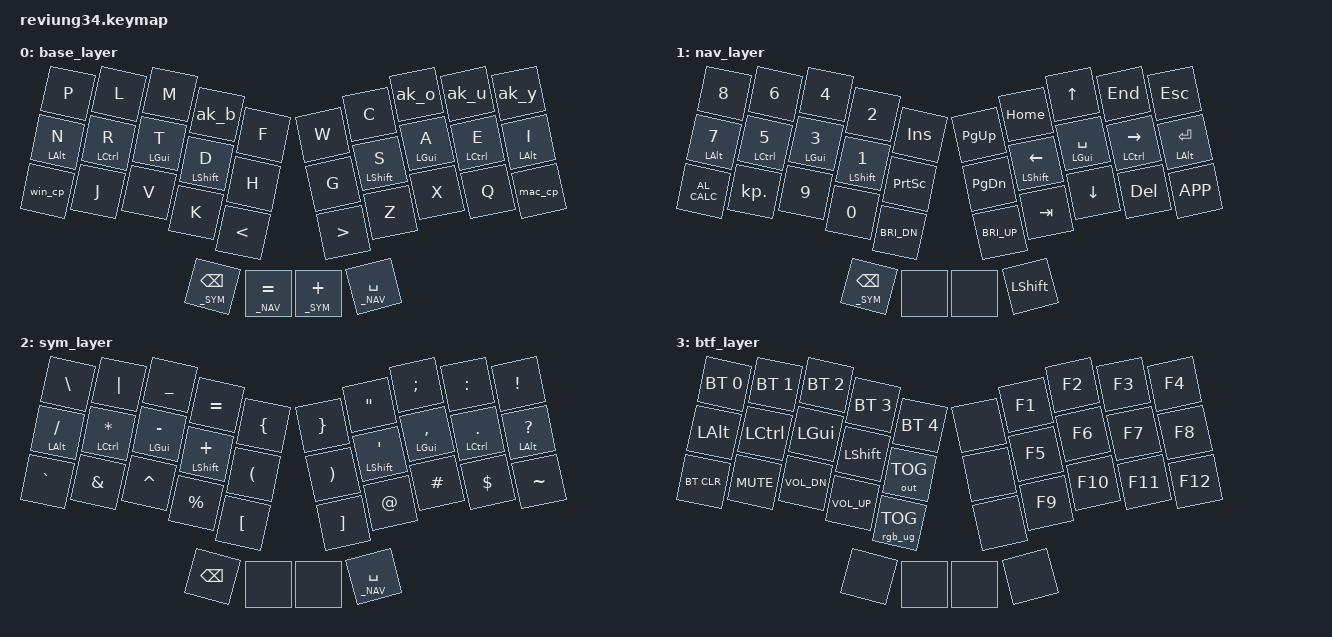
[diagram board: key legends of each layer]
/*
 * Copyright (c) 2021 The ZMK Contributors
 *
 * SPDX-License-Identifier: MIT
 */

#include <behaviors.dtsi>
#include <dt-bindings/zmk/keys.h>
#include <dt-bindings/zmk/bt.h>
#include <dt-bindings/zmk/rgb.h>
#include <dt-bindings/zmk/outputs.h>
#include <physical_layouts.dtsi>
#include "keypos_34keys.h"

#define _BASE    0
#define _NAV     1
#define _SYM     2
#define _BTF     3

#define RGB_BASE RGB_COLOR_HSB(0,100,7)
#define RGB_SYM RGB_COLOR_HSB(20,100,5)
#define RGB_NAV RGB_COLOR_HSB(10,100,8)
#define RGB_BTF RGB_COLOR_HSB(250,100,8)

/ {
    dual_1u_layout: dual_1u_layout {
        compatible = "zmk,physical-layout";
        display-name = "Dual 1u space";
        transform = <&dual_1u_transform>;
        kscan = <&kscan0>;

                keys  //             w   h    x    y     rot    rx    ry
            = <&key_physical_attrs 100 100    0   40    1200   250   140>
            , <&key_physical_attrs 100 100  100   20    1200   250   140>
            , <&key_physical_attrs 100 100  200    0    1200   250   140>
            , <&key_physical_attrs 100 100  300   20    1200   250   140>
            , <&key_physical_attrs 100 100  400   40    1200   250   140>
            , <&key_physical_attrs 100 100  530   40  (-1200)  780   140>
            , <&key_physical_attrs 100 100  630   20  (-1200)  780   140>
            , <&key_physical_attrs 100 100  730    0  (-1200)  780   140>
            , <&key_physical_attrs 100 100  830   20  (-1200)  780   140>
            , <&key_physical_attrs 100 100  930   40  (-1200)  780   140>
            , <&key_physical_attrs 100 100    0  140    1200   250   140>
            , <&key_physical_attrs 100 100  100  120    1200   250   140>
            , <&key_physical_attrs 100 100  200  100    1200   250   140>
            , <&key_physical_attrs 100 100  300  120    1200   250   140>
            , <&key_physical_attrs 100 100  400  140    1200   250   140>
            , <&key_physical_attrs 100 100  530  140  (-1200)  780   140>
            , <&key_physical_attrs 100 100  630  120  (-1200)  780   140>
            , <&key_physical_attrs 100 100  730  100  (-1200)  780   140>
            , <&key_physical_attrs 100 100  830  120  (-1200)  780   140>
            , <&key_physical_attrs 100 100  930  140  (-1200)  780   140>
            , <&key_physical_attrs 100 100    0  240    1200   250   140>
            , <&key_physical_attrs 100 100  100  220    1200   250   140>
            , <&key_physical_attrs 100 100  200  200    1200   250   140>
            , <&key_physical_attrs 100 100  300  220    1200   250   140>
            , <&key_physical_attrs 100 100  400  240    1200   250   140>
            , <&key_physical_attrs 100 100  530  240  (-1200)  780   140>
            , <&key_physical_attrs 100 100  630  220  (-1200)  780   140>
            , <&key_physical_attrs 100 100  730  200  (-1200)  780   140>
            , <&key_physical_attrs 100 100  830  220  (-1200)  780   140>
            , <&key_physical_attrs 100 100  930  240  (-1200)  780   140>
            , <&key_physical_attrs 100 100  315  400    1500   415   400>
            , <&key_physical_attrs 100 100  415  400       0     0     0>
            , <&key_physical_attrs 100 100  515  400       0     0     0>
            , <&key_physical_attrs 100 100  615  400  (-1500)  615   400>
            ;

    };

// ------------------------- MACROS --------------------------------
    macros {
        to_BASE: to_BASE {
            compatible = "zmk,behavior-macro";
            #binding-cells = <0>;
            wait-ms = <0>;
            tap-ms = <0>;
            bindings
                = <&rgb_ug RGB_BASE>
                , <&tog _NAV>
                ;
        };

        // mo_SYM: mo_SYM {
        //     compatible = "zmk,behavior-macro";
        //     #binding-cells = <0>;
        //     wait-ms = <0>;
        //     tap-ms = <0>;
        //     bindings
        //         = <&macro_tap &rgb_ug RGB_SYM>
        //         , <&macro_press &mo _SYM>
        //         , <&macro_pause_for_release>
        //         , <&macro_tap &rgb_ug RGB_BASE>
        //         , <&macro_release &mo _SYM>
        //         ;
        // };

        // to_SYM: to_SYM {
        //     compatible = "zmk,behavior-macro";
        //     #binding-cells = <0>;
        //     wait-ms = <0>;
        //     tap-ms = <0>;
        //     bindings
        //         = <&rgb_ug RGB_SYM>
        //         , <&to _SYM>
        //         ;
        // };

        to_NAV: to_NAV {
            compatible = "zmk,behavior-macro";
            #binding-cells = <0>;
            wait-ms = <0>;
            tap-ms = <0>;
            bindings
                = <&rgb_ug RGB_NAV>
                , <&tog _NAV>
                ;
        };

        // mo_NAV: mo_NAV {
        //     compatible = "zmk,behavior-macro";
        //     #binding-cells = <0>;
        //     wait-ms = <0>;
        //     tap-ms = <0>;
        //     bindings
        //         = <&macro_tap &rgb_ug RGB_NAV>
        //         , <&macro_press &mo _NAV>
        //         , <&macro_pause_for_release>
        //         , <&macro_tap &rgb_ug RGB_BASE>
        //         , <&macro_release &mo _NAV>
        //         ;
        // };

        mo_BTF: mo_BTF {
            compatible = "zmk,behavior-macro";
            #binding-cells = <0>;
            wait-ms = <0>;
            tap-ms = <0>;
            bindings
                = <&macro_tap &rgb_ug RGB_BTF>
                , <&macro_press &mo _BTF>
                , <&macro_pause_for_release>
                , <&macro_tap &rgb_ug RGB_BASE>
                , <&macro_release &mo _BTF>
                ;
        };

        to_BOOT: to_BOOT {
            compatible = "zmk,behavior-macro";
            #binding-cells = <0>;
            bindings
                = <&rgb_ug RGB_COLOR_HSB(0,100,100)>
                , <&rgb_ug RGB_ON>
                , <&bootloader>
                ;
        };

        mlc_ou: macro_lc_ou {
            compatible = "zmk,behavior-macro";
            #binding-cells = <0>;
            wait-ms = <0>;
            tap-ms = <5>;
            bindings
                = <&kp O>
                , <&kp U>
                ;
        };

        // muc_the: macro_uc_the {
        //     compatible = "zmk,behavior-macro";
        //     #binding-cells = <0>;
        //     wait-ms = <0>;
        //     tap-ms = <5>;
        //     bindings
        //         = <&kp LS(T)>
        //         , <&kp H>
        //         , <&kp E>
        //         ;
        // };

        // mlc_the: macro_lc_the {
        //     compatible = "zmk,behavior-macro";
        //     #binding-cells = <0>;
        //     wait-ms = <0>;
        //     tap-ms = <5>;
        //     bindings
        //         = <&kp T>
        //         , <&kp H>
        //         , <&kp E>
        //         ;
        // };

        // mlc_ing: macro_lc_ing {
        //     compatible = "zmk,behavior-macro";
        //     #binding-cells = <0>;
        //     wait-ms = <0>;
        //     tap-ms = <5>;
        //     bindings
        //         = <&kp I>
        //         , <&kp N>
        //         , <&kp G>
        //         ;
        // };

        mlc_qu: macro_lc_qu {
            compatible = "zmk,behavior-macro";
            #binding-cells = <0>;
            wait-ms = <0>;
            tap-ms = <5>;
            bindings
                = <&kp Q>
                , <&kp U>
                ;
        };

        // mlc_ould: macro_lc_ould {
        //     compatible = "zmk,behavior-macro";
        //     #binding-cells = <0>;
        //     wait-ms = <0>;
        //     tap-ms = <5>;
        //     bindings
        //         = <&kp O>
        //         , <&kp U>
        //         , <&kp L>
        //         , <&kp D>
        //         ;
        // };

    };

    combos {
        compatible = "zmk,combos";
// ------------------------- LAYER COMBOS --------------------------------
        combo_BOOT {
            timeout-ms = <50>;
            require-prior-idle-ms = <200>;
            key-positions = <LMC RMC>;
            bindings = <&to_BOOT>;
            layers = <_BTF>;
        };

        combo_BTF {
            timeout-ms = <50>;
            require-prior-idle-ms = <200>;
            key-positions = <LHO RHO>;
            bindings = <&mo_BTF>;
        };

        // combo_NAVR {
        //     timeout-ms = <50>;
        //     require-prior-idle-ms = <200>;
        //     key-positions = <RMI RMM RMR>;
        //     bindings = <&to_NAV>;
        //     layers = <_BASE>;
        // };

        // combo_BASER {
        //     timeout-ms = <50>;
        //     require-prior-idle-ms = <200>;
        //     key-positions = <RMI RMM RMR>;
        //     bindings = <&to_BASE>;
        //     layers = <_NAV>;
        // };

        // combo_NAVL {
        //     timeout-ms = <50>;
        //     require-prior-idle-ms = <200>;
        //     key-positions = <LMI LMM LMR>;
        //     bindings = <&to_NAV>;
        //     layers = <_BASE>;
        // };

        // combo_BASEL {
        //     timeout-ms = <50>;
        //     require-prior-idle-ms = <200>;
        //     key-positions = <LMI LMM LMR>;
        //     bindings = <&to_BASE>;
        //     layers = <_NAV>;
        // };

// ------------------------- MODS COMBOS --------------------------------
        combo_CAPS {
            timeout-ms = <50>;
            key-positions = <LTI RTI>;
            bindings = <&caps_word>;
            require-prior-idle-ms = <200>;
            layers = <_BASE>;
        };

        // combo_RALTL {
        //     timeout-ms = <40>;
        //     key-positions = <LMP LTP>;
        //     bindings = <&kp RALT>;
        //     //layers = <_BASE>;
        // };

        // combo_RALTR {
        //     timeout-ms = <40>;
        //     key-positions = <LMP RTP>;
        //     bindings = <&kp RALT>;
        //     //layers = <_BASE>;
        // };

// ------------------------- CHARACTER COMBOS --------------------------------
        // combo_OULD {
        //     timeout-ms = <50>;
        //     key-positions = <RTI RTM RTR>;
        //     bindings = <&mlc_ould>;
        //     layers = <_BASE>;
        // };

        // combo_ING {
        //     timeout-ms = <50>;
        //     require-prior-idle-ms = <120>;
        //     key-positions = <RMI RMM RMR>;
        //     bindings = <&mlc_ing>;
        //     layers = <_BASE>;
        // };

        // combo_OU {
        //     timeout-ms = <120>;
        //     //require-prior-idle-ms = <120>;
        //     key-positions = <RTM RTR>;
        //     bindings = <&mlc_ou>;
        //     layers = <_BASE>;
        // };

        // combo_THE {
        //     timeout-ms = <50>;
        //     require-prior-idle-ms = <120>;
        //     key-positions = <LMI LMM LMR>;
        //     bindings = <&mm_the>;
        //     layers = <_BASE>;
        // };

        combo_QU {
            timeout-ms = <300>;
            // require-prior-idle-ms = <120>;
            key-positions = <RBM RBI>;
            bindings = <&mlc_qu>;
            layers = <_BASE>;
        };

// ------------------------- SYMBOL COMBOS --------------------------------
        combo_LPAR {
            timeout-ms = <50>;
            require-prior-idle-ms = <200>;
            key-positions = <LHO LMI>;
            bindings = <&kp LPAR>;
            layers = <_BASE _SYM>;
        };

        combo_RPAR {
            timeout-ms = <50>;
            require-prior-idle-ms = <200>;
            key-positions = <RMI RHO>;
            bindings = <&kp RPAR>;
            layers = <_BASE _SYM>;
        };

        combo_LBRC {
            timeout-ms = <50>;
            require-prior-idle-ms = <200>;
            key-positions = <LMM LHO>;
            bindings = <&kp LBRC>;
            layers = <_BASE _SYM>;
        };

        combo_RBRC {
            timeout-ms = <50>;
            require-prior-idle-ms = <200>;
            key-positions = <RMM RHO>;
            bindings = <&kp RBRC>;
            layers = <_BASE _SYM>;
        };

        combo_LBKT {
            timeout-ms = <50>;
            require-prior-idle-ms = <200>;
            key-positions = <LMR LHO>;
            bindings = <&kp LBKT>;
            layers = <_BASE _SYM>;
        };

        combo_RBKT {
            timeout-ms = <50>;
            require-prior-idle-ms = <200>;
            key-positions = <RMR RHO>;
            bindings = <&kp RBKT>;
            layers = <_BASE _SYM>;
        };

        combo_GT {
            timeout-ms = <50>;
            require-prior-idle-ms = <200>;
            key-positions = <RMP RHO>;
            bindings = <&kp GT>;
            layers = <_BASE _SYM>;
        };

        combo_LT {
            timeout-ms = <50>;
            require-prior-idle-ms = <200>;
            key-positions = <LMP LHO>;
            bindings = <&kp LT>;
            layers = <_BASE _SYM>;
        };
    };

    behaviors {
// ------------------------- TAP-DANCES --------------------------------
        win_cp: win_cp {
            compatible = "zmk,behavior-tap-dance";
            #binding-cells = <0>;
            tapping-term-ms = <400>;
            bindings = <&kp LC(C)>, <&kp LC(V)>, <&kp LC(X)>;
        };

        mac_cp: mac_cp {
            compatible = "zmk,behavior-tap-dance";
            #binding-cells = <0>;
            tapping-term-ms = <400>;
            bindings = <&kp LG(C)>, <&kp LG(V)>, <&kp LG(X)>;
        };

// ------------------------- HOLD-TAPS --------------------------------
        /* left-hand HRMs */
        hml: hrm_left {
            compatible = "zmk,behavior-hold-tap";
            #binding-cells = <2>;
            flavor = "balanced";
            tapping-term-ms = <300>;
            quick-tap-ms = <170>;                // repeat on tap-into-hold
            require-prior-idle-ms = <250>;
            bindings = <&kp>, <&kp>;
            hold-trigger-key-positions = <KEYS_R THUMBS>;
            hold-trigger-on-release;             // delay positional check until key-release
        };

        /* right-hand HRMs */
        hmr: hrm_right {
            compatible = "zmk,behavior-hold-tap";
            #binding-cells = <2>;
            flavor = "balanced";
            tapping-term-ms = <300>;
            quick-tap-ms = <170>;                // repeat on tap-into-hold
            require-prior-idle-ms = <250>;
            bindings = <&kp>, <&kp>;
            hold-trigger-key-positions = <KEYS_L THUMBS>;
            hold-trigger-on-release;             // delay positional check until key-release
        };

        rml: akr_left {
            compatible = "zmk,behavior-hold-tap";
            #binding-cells = <2>;
            flavor = "balanced";
            tapping-term-ms = <300>;
            quick-tap-ms = <170>;                // repeat on tap-into-hold
            require-prior-idle-ms = <250>;
            bindings = <&kp>, <&ak_r>;
            hold-trigger-key-positions = <KEYS_R THUMBS>;
            hold-trigger-on-release;             // delay positional check until key-release
        };

        asl: aks_left {
            compatible = "zmk,behavior-hold-tap";
            #binding-cells = <2>;
            flavor = "balanced";
            tapping-term-ms = <300>;
            quick-tap-ms = <170>;                // repeat on tap-into-hold
            require-prior-idle-ms = <120>;
            bindings = <&kp>, <&ak_d>;
            hold-trigger-key-positions = <KEYS_R THUMBS>;
            hold-trigger-on-release;             // delay positional check until key-release
        };

        hsl: hrs_left {
            compatible = "zmk,behavior-hold-tap";
            #binding-cells = <2>;
            flavor = "balanced";
            tapping-term-ms = <300>;
            quick-tap-ms = <170>;                // repeat on tap-into-hold
            require-prior-idle-ms = <120>;
            bindings = <&kp>, <&kp>;
            hold-trigger-key-positions = <KEYS_R THUMBS>;
            hold-trigger-on-release;             // delay positional check until key-release
        };

        hsr: hrs_right {
            compatible = "zmk,behavior-hold-tap";
            #binding-cells = <2>;
            flavor = "balanced";
            tapping-term-ms = <300>;
            quick-tap-ms = <170>;                // repeat on tap-into-hold
            require-prior-idle-ms = <120>;
            bindings = <&kp>, <&kp>;
            hold-trigger-key-positions = <KEYS_L THUMBS>;
            hold-trigger-on-release;             // delay positional check until key-release
        };

        bst: backspace-tap {
            compatible = "zmk,behavior-hold-tap";
            #binding-cells = <2>;
            flavor = "balanced";
            tapping-term-ms = <300>;
            quick-tap-ms = <200>;
            //require-prior-idle-ms = <100>;
            bindings = <&mo>, <&kp>;
        };

        spt: space-tap {
            compatible = "zmk,behavior-hold-tap";
            #binding-cells = <2>;
            flavor = "balanced";
            tapping-term-ms = <300>;
            quick-tap-ms = <200>;
            //require-prior-idle-ms = <100>;
            bindings = <&mo>, <&kp>;
        };

// ----------------------- ADAPTIVE-KEYS ------------------------------- 
        ak_d: ak_d {
            compatible = "zmk,behavior-adaptive-key";
            #binding-cells = <0>;
            bindings = <&kp D>;

            akt_th { trigger-keys = <T>; max-prior-idle-ms = <250>; bindings = <&kp H>; };
            akt_bh { trigger-keys = <B>; max-prior-idle-ms = <300>; bindings = <&kp H>; };
            akt_ph { trigger-keys = <P>; max-prior-idle-ms = <300>; bindings = <&kp H>; };
            akt_ch { trigger-keys = <C>; max-prior-idle-ms = <300>; bindings = <&kp H>; };
            akt_wh { trigger-keys = <W>; max-prior-idle-ms = <300>; bindings = <&kp H>; };
            akt_sh { trigger-keys = <S>; max-prior-idle-ms = <300>; bindings = <&kp H>; };
            akt_gh { trigger-keys = <G>; max-prior-idle-ms = <300>; bindings = <&kp H>; };
        };

        ak_b: ak_b {
            compatible = "zmk,behavior-adaptive-key";
            #binding-cells = <0>;
            bindings = <&kp B>;

            akt_sc { trigger-keys = <S>; max-prior-idle-ms = <300>; bindings = <&kp C>; };
            akt_pr { trigger-keys = <P>; max-prior-idle-ms = <300>; bindings = <&kp R>; };
            akt_tv { trigger-keys = <T>; max-prior-idle-ms = <300>; bindings = <&kp V>; };
        };

        // ak_j: ak_j {
        //     compatible = "zmk,behavior-adaptive-key";
        //     #binding-cells = <0>;
        //     bindings = <&kp J>;

        //     akt_ws { trigger-keys = <W>; max-prior-idle-ms = <300>; bindings = <&kp S>; };
        //     akt_gs { trigger-keys = <G>; max-prior-idle-ms = <300>; bindings = <&kp S>; };
        //     akt_rl { trigger-keys = <R>; max-prior-idle-ms = <300>; bindings = <&kp L>; };
        // };

        // ak_x: ak_x {
        //     compatible = "zmk,behavior-adaptive-key";
        //     #binding-cells = <0>;
        //     bindings = <&kp X>;

        //     akt_rl { trigger-keys = <R>; max-prior-idle-ms = <300>; bindings = <&kp L>; };
        //     akt_kd { trigger-keys = <K>; max-prior-idle-ms = <300>; bindings = <&kp D>; };
        // };

        ak_o: ak_o {
            compatible = "zmk,behavior-adaptive-key";
            #binding-cells = <0>;
            bindings = <&kp O>;

            akt_uo { trigger-keys = <U>; max-prior-idle-ms = <125>; bindings = <&kp 0>; };
        };

        ak_u: ak_u {
            compatible = "zmk,behavior-adaptive-key";
            #binding-cells = <0>;
            bindings = <&kp U>;

            akt_you { trigger-keys = <Y>; max-prior-idle-ms = <300>; bindings = <&kp O &kp U>; };
        };

        ak_y: ak_y {
            compatible = "zmk,behavior-adaptive-key";
            #binding-cells = <0>;
            bindings = <&kp Y>;

            akt_uo { trigger-keys = <U>; max-prior-idle-ms = <300>; bindings = <&kp E>; };
        };

        ak_r: ak_r {
            compatible = "zmk,behavior-adaptive-key";
            #binding-cells = <0>;
            bindings = <&kp R>;

            akt_ng { trigger-keys = <N>; max-prior-idle-ms = <300>; bindings = <&kp G>; };
        };

// ------------------------- MOD-MORPHS --------------------------------
        // mm_you: mm_you {
        //     compatible = "zmk,behavior-mod-morph";
        //     #binding-cells = <0>;
        //     bindings = <&mlc_you>, <&muc_you>;
        //     mods = <(MOD_LSFT)>;
        // };

        // mm_the: mm_the {
        //     compatible = "zmk,behavior-mod-morph";
        //     #binding-cells = <0>;
        //     bindings = <&mlc_the>, <&muc_the>;
        //     mods = <(MOD_LSFT)>;
        // };

    };

    keymap {
        compatible = "zmk,keymap";

                base_layer {
// -------------------------------    -------------------------------
// |  P  |  L  |  M  |  B  |  F  |    |  W  |  C  |  O  |  U  |  Y  |
// |  N  |  R  |  T  |  D  |  H  |    |  G  |  S  |  A  |  E  |  I  |
// | wCP |  J  |  V  |  K  |  <  |    |  >  |  Z  |  X  |  Q  | mCP |
//            | _SYM(BSPC) |  =  |    |  +  | _NAV(SPC) |
                        bindings = <
   &kp P        &kp L        &kp M       &ak_b        &kp F       &kp W  &kp C        &ak_o       &ak_u        &ak_y
   &hml LALT N  &rml LCTRL R &hml LGUI T &asl LSHFT D &kp H       &kp G  &hsr LSHFT S &hmr LGUI A &hmr LCTRL E &hmr LALT I
   &win_cp      &kp J        &kp V       &kp K        &kp LT      &kp GT &kp Z        &kp X       &kp Q        &mac_cp
                             &bst _SYM BSPC  &bst _NAV EQUAL      &spt _SYM PLUS  &spt _NAV SPACE
                        >;
                };

                nav_layer {
// -------------------------------    ----------------------------------
// |  8  |  6  |  4  |  2  | INS |    | pUP | HOME |  UP  | END  | ESC |
// |  7  |  5  |  3  |  1  | PSC |    | pDN | LEFT | SPC  | RGHT | RET |
// |  v. | , . |  9  |  0  |  v- |    |  v+ | TAB  | DOWN | DEL  | APP |
//            | _SYM(BSPC) |     |    |     | SHFT |
                        bindings = <
   &kp N8        &kp N6        &kp N4       &kp N2        &kp INS         &kp PG_UP    &kp HOME        &kp UP          &kp END          &kp ESC
   &hml LALT N7  &hml LCTRL N5 &hml LGUI N3 &hsl LSHFT N1 &kp PSCRN       &kp PG_DN    &hsr LSHFT LEFT &hmr LGUI SPACE &hmr LCTRL RIGHT &hmr LALT RET
   &kp C_AL_CALC &kp KP_DOT    &kp N9       &kp N0        &kp C_BRI_DN    &kp C_BRI_UP &kp TAB         &kp DOWN        &kp DEL          &kp K_APP
                                           &bst _SYM BSPC &none           &none  &kp LSHFT
                        >;
                };
                
                sym_layer {
// -------------------------------    -------------------------------
// |  \  |  |  |  _  |  =  |  {  |    |  }  |  "  |  ;  |  :  |  !  |
// |  /  |  *  |  -  |  +  |  (  |    |  )  |  '  |  ,  |  .  |  ?  |
// |  `  |  &  |  ^  |  %  |  [  |    |  ]  |  @  |  #  |  $  |  ~  |
//                  | BSPC |     |    |     | _NAV(SPC) |
                        bindings = <
   &kp BSLH        &kp PIPE        &kp UNDER       &kp EQUAL       &kp LBRC      &kp RBRC &kp DQT        &kp SEMI        &kp COLON      &kp EXCL
   &hml LALT SLASH &hml LCTRL STAR &hml LGUI MINUS &hsl LSHFT PLUS &kp LPAR      &kp RPAR &hsr LSHFT SQT &hmr LGUI COMMA &hmr LCTRL DOT &hmr LALT QMARK
   &kp GRAVE       &kp AMPS        &kp CARET       &kp PRCNT       &kp LBKT      &kp RBKT &kp AT         &kp HASH        &kp DLLR       &kp TILDE
                                                         &kp BSPC  &none         &none   &spt _NAV SPACE
                        >;
                };
                
                btf_layer {
// -------------------------------    -----------------------------
// | BT1 | BT2 | BT3 | BT4 | BT5 |    |    | F1 | F2  | F3  | F4  |    
// | ALT | CTL | GUI | SFT | USB |    |    | F5 | F6  | F7  | F8  |
// | CLR |  v. |  v- |  v+ | RGB |    |    | F9 | F10 | F11 | F12 |
//                   |     |     |    |    |     |
                        bindings = <
   &bt BT_SEL 0 &bt BT_SEL 1 &bt BT_SEL 2 &bt BT_SEL 3 &bt BT_SEL 4       &none  &kp F1  &kp F2  &kp F3  &kp F4       
   &kp LALT     &kp LCTRL    &kp LGUI     &kp LSHFT    &out OUT_TOG       &none  &kp F5  &kp F6  &kp F7  &kp F8     
   &bt BT_CLR   &kp C_MUTE   &kp C_VOL_DN &kp C_VOL_UP &rgb_ug RGB_TOG    &none  &kp F9  &kp F10 &kp F11 &kp F12
                                                    &none   &none         &none  &none
                        >;
                };       

                extra1 {
                        status = "reserved";
                };

                extra2 {
                        status = "reserved";
                };         
    };

    chosen {
        
        zmk,physical-layout = &dual_1u_layout;

        /delete-property/  zmk,kscan;
        /delete-property/  zmk,matrix-transform;
    };
};
